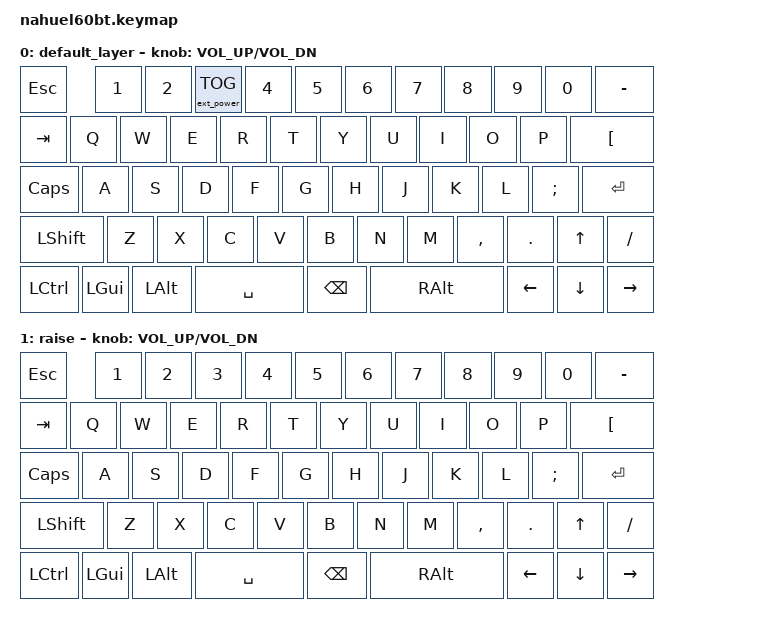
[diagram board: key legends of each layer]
#include <behaviors.dtsi>
#include <dt-bindings/zmk/keys.h>
#include <dt-bindings/zmk/bt.h>
#include <dt-bindings/zmk/rgb.h>
#include <dt-bindings/zmk/backlight.h>
#include <dt-bindings/zmk/ext_power.h>

/ {
    keymap {
        compatible = "zmk,keymap";

        default_layer {
                // -----------------------------------------------------------------------------
                // | ESC |  1  |  2  |  3  |  4  |  5  |  6  |  7  |  8  |  9  |  0  |  MINUS   |
                // | TAB  |  Q  |  W  |  E  |  R  |  T  |  Y  |  U  |  I  |  O  |  P  |  [  /  ]|
                // | CAPS  |  A  |  S  |  D  |  F  |  G  |  H  |  J  |  K  |  L  |  ;  |  '  |     ENTER    |
                // |  SHIFT    |  Z  |  X  |  C  |  V  |  B  |  N  |  M  |  ,  |  .  | /   |      SHIFT     |
                // |  CTL  |  WIN  |  ALT  |            SPACE               | ALT | 1    |  MENU    |  CTRL |
                // ------------------------------------------------------------------------------------------
            bindings = <
                &kp ESC &kp N1 &kp N2  &ext_power EP_TOG &kp N4 &kp N5 &kp N6 &kp N7 &kp  N8   &kp  N9 &kp  N0  &kp MINUS
                &kp TAB  &kp Q  &kp W  &kp E  &kp R  &kp T  &kp Y  &kp U  &kp  I    &kp  O  &kp  P   &kp LBKT
                &kp CLCK  &kp A  &kp S  &kp D  &kp F  &kp G  &kp H  &kp J  &kp  K    &kp  L  &kp SEMI &kp RET
                &kp LSHFT  &kp Z  &kp X  &kp C  &kp V  &kp B  &kp N  &kp M  &kp COMMA &kp DOT &kp UP &kp FSLH
                &kp LCTRL &kp LGUI &kp LALT     &kp SPACE     &kp BSPC       &kp RALT &kp LEFT &kp DOWN &kp RIGHT
            >;
            sensor-bindings = <&inc_dec_kp C_VOL_UP C_VOL_DN>;
        };
        raise {
            bindings = <
                &kp ESC &kp N1 &kp N2 &kp N3 &kp N4 &kp N5 &kp N6 &kp N7 &kp  N8   &kp  N9 &kp  N0  &kp MINUS
                &kp TAB  &kp Q  &kp W  &kp E  &kp R  &kp T  &kp Y  &kp U  &kp  I    &kp  O  &kp  P   &kp LBKT
                &kp CLCK  &kp A  &kp S  &kp D  &kp F  &kp G  &kp H  &kp J  &kp  K    &kp  L  &kp SEMI &kp RET
                &kp LSHFT  &kp Z  &kp X  &kp C  &kp V  &kp B  &kp N  &kp M  &kp COMMA &kp DOT &kp UP &kp FSLH
                &kp LCTRL &kp LGUI &kp LALT     &kp SPACE     &kp BSPC       &kp RALT &kp LEFT &kp DOWN &kp RIGHT
            >;
            sensor-bindings = <&inc_dec_kp C_VOL_UP C_VOL_DN>;
        };
    };
};
